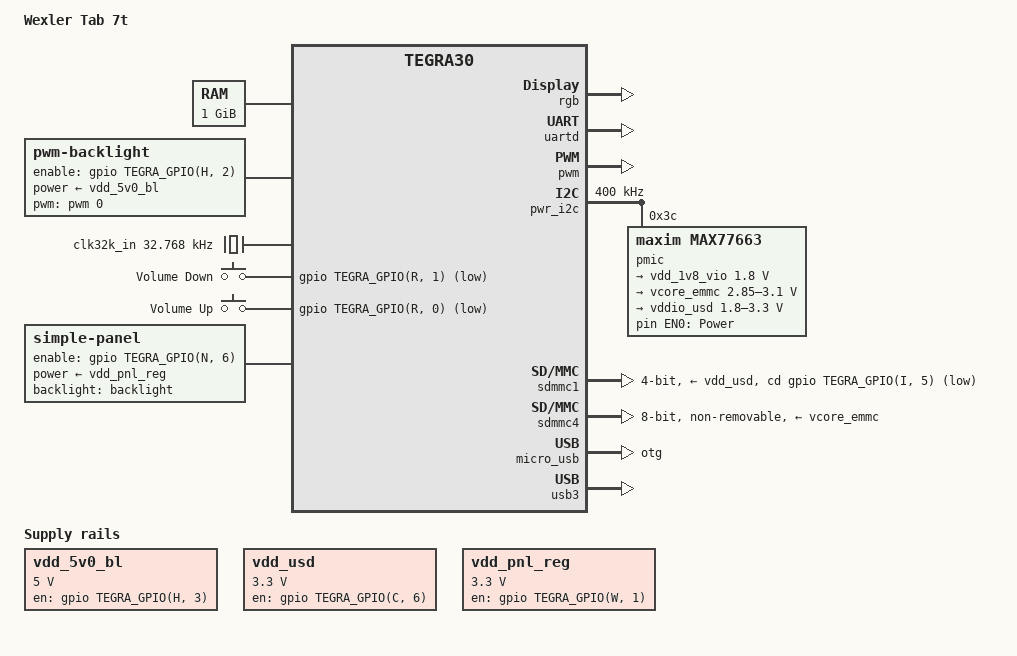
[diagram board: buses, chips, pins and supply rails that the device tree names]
// SPDX-License-Identifier: GPL-2.0
/dts-v1/;

/* CPU Speedo ID 7, Soc Speedo ID 1, CPU Process: 4, Core Process: 0 */

#include <dt-bindings/input/input.h>
#include <dt-bindings/pmic/max77663.h>

#include "tegra30.dtsi"

/ {
	model = "Wexler Tab 7t";
	compatible = "wexler,qc750", "nvidia,tegra30";

	chosen {
		stdout-path = &uartd;
	};

	aliases {
		i2c0 = &pwr_i2c;

		mmc0 = &sdmmc4;	/* eMMC */
		mmc1 = &sdmmc1; /* uSD slot */

		rtc0 = &pmic;
		rtc1 = "/rtc@7000e000";

		usb0 = &micro_usb;
		usb1 = &usb3; /* Full size USB */
	};

	memory {
		device_type = "memory";
		reg = <0x80000000 0x40000000>;
	};

	host1x@50000000 {
		dc@54200000 {
			rgb {
				status = "okay";

				nvidia,panel = <&panel>;
			};
		};
	};

	pinmux@70000868 {
		pinctrl-names = "default";
		pinctrl-0 = <&state_default>;

		state_default: pinmux {
			/* SDMMC1 pinmux */
			sdmmc1-clk {
				nvidia,pins = "sdmmc1_clk_pz0";
				nvidia,function = "sdmmc1";
				nvidia,pull = <TEGRA_PIN_PULL_NONE>;
				nvidia,tristate = <TEGRA_PIN_DISABLE>;
				nvidia,enable-input = <TEGRA_PIN_ENABLE>;
			};
			sdmmc1-cmd {
				nvidia,pins = "sdmmc1_dat3_py4",
						"sdmmc1_dat2_py5",
						"sdmmc1_dat1_py6",
						"sdmmc1_dat0_py7",
						"sdmmc1_cmd_pz1";
				nvidia,function = "sdmmc1";
				nvidia,pull = <TEGRA_PIN_PULL_UP>;
				nvidia,tristate = <TEGRA_PIN_DISABLE>;
				nvidia,enable-input = <TEGRA_PIN_ENABLE>;
			};
			sdmmc1-cd {
				nvidia,pins = "gmi_iordy_pi5";
				nvidia,function = "rsvd1";
				nvidia,pull = <TEGRA_PIN_PULL_UP>;
				nvidia,tristate = <TEGRA_PIN_DISABLE>;
				nvidia,enable-input = <TEGRA_PIN_ENABLE>;
			};

			/* SDMMC3 pinmux */
			sdmmc3-clk {
				nvidia,pins = "sdmmc3_clk_pa6";
				nvidia,function = "sdmmc3";
				nvidia,pull = <TEGRA_PIN_PULL_NONE>;
				nvidia,tristate = <TEGRA_PIN_DISABLE>;
				nvidia,enable-input = <TEGRA_PIN_ENABLE>;
			};
			sdmmc3-cmd {
				nvidia,pins = "sdmmc3_cmd_pa7",
						"sdmmc3_dat0_pb7",
						"sdmmc3_dat1_pb6",
						"sdmmc3_dat2_pb5",
						"sdmmc3_dat3_pb4",
						"sdmmc3_dat4_pd1",
						"sdmmc3_dat5_pd0",
						"sdmmc3_dat6_pd3",
						"sdmmc3_dat7_pd4";
				nvidia,function = "sdmmc3";
				nvidia,pull = <TEGRA_PIN_PULL_UP>;
				nvidia,tristate = <TEGRA_PIN_DISABLE>;
				nvidia,enable-input = <TEGRA_PIN_ENABLE>;
			};

			/* SDMMC4 pinmux */
			sdmmc4-clk {
				nvidia,pins = "sdmmc4_clk_pcc4";
				nvidia,function = "sdmmc4";
				nvidia,pull = <TEGRA_PIN_PULL_NONE>;
				nvidia,tristate = <TEGRA_PIN_DISABLE>;
				nvidia,enable-input = <TEGRA_PIN_ENABLE>;
			};
			sdmmc4-cmd {
				nvidia,pins = "sdmmc4_cmd_pt7",
						"sdmmc4_dat0_paa0",
						"sdmmc4_dat1_paa1",
						"sdmmc4_dat2_paa2",
						"sdmmc4_dat3_paa3",
						"sdmmc4_dat4_paa4",
						"sdmmc4_dat5_paa5",
						"sdmmc4_dat6_paa6",
						"sdmmc4_dat7_paa7";
				nvidia,function = "sdmmc4";
				nvidia,pull = <TEGRA_PIN_PULL_UP>;
				nvidia,tristate = <TEGRA_PIN_DISABLE>;
				nvidia,enable-input = <TEGRA_PIN_ENABLE>;
			};
			sdmmc4-rst-n {
				nvidia,pins = "sdmmc4_rst_n_pcc3";
				nvidia,function = "rsvd2";
				nvidia,pull = <TEGRA_PIN_PULL_DOWN>;
				nvidia,tristate = <TEGRA_PIN_DISABLE>;
				nvidia,enable-input = <TEGRA_PIN_ENABLE>;
			};
			cam-mclk {
				nvidia,pins = "cam_mclk_pcc0";
				nvidia,function = "vi_alt3";
				nvidia,pull = <TEGRA_PIN_PULL_UP>;
				nvidia,tristate = <TEGRA_PIN_DISABLE>;
				nvidia,enable-input = <TEGRA_PIN_ENABLE>;
			};
			drive-sdmmc4 {
				nvidia,pins = "drive_gma",
						"drive_gmb",
						"drive_gmc",
						"drive_gmd";
				nvidia,pull-down-strength = <9>;
				nvidia,pull-up-strength = <9>;
				nvidia,slew-rate-rising = <TEGRA_PIN_SLEW_RATE_SLOWEST>;
				nvidia,slew-rate-falling = <TEGRA_PIN_SLEW_RATE_SLOWEST>;
			};

			/* I2C pinmux */
			gen1-i2c {
				nvidia,pins = "gen1_i2c_scl_pc4",
						"gen1_i2c_sda_pc5";
				nvidia,function = "i2c1";
				nvidia,pull = <TEGRA_PIN_PULL_NONE>;
				nvidia,tristate = <TEGRA_PIN_DISABLE>;
				nvidia,enable-input = <TEGRA_PIN_ENABLE>;
				nvidia,open-drain = <TEGRA_PIN_ENABLE>;
				nvidia,lock = <0>;
			};
			gen2-i2c {
				nvidia,pins = "gen2_i2c_scl_pt5",
						"gen2_i2c_sda_pt6";
				nvidia,function = "i2c2";
				nvidia,pull = <TEGRA_PIN_PULL_NONE>;
				nvidia,tristate = <TEGRA_PIN_DISABLE>;
				nvidia,enable-input = <TEGRA_PIN_ENABLE>;
				nvidia,open-drain = <TEGRA_PIN_ENABLE>;
				nvidia,lock = <0>;
			};
			cam-i2c {
				nvidia,pins = "cam_i2c_scl_pbb1",
						"cam_i2c_sda_pbb2";
				nvidia,function = "i2c3";
				nvidia,pull = <TEGRA_PIN_PULL_NONE>;
				nvidia,tristate = <TEGRA_PIN_DISABLE>;
				nvidia,enable-input = <TEGRA_PIN_ENABLE>;
				nvidia,open-drain = <TEGRA_PIN_ENABLE>;
				nvidia,lock = <0>;
			};
			ddc-i2c {
				nvidia,pins = "ddc_scl_pv4",
						"ddc_sda_pv5";
				nvidia,function = "i2c4";
				nvidia,pull = <TEGRA_PIN_PULL_NONE>;
				nvidia,tristate = <TEGRA_PIN_DISABLE>;
				nvidia,enable-input = <TEGRA_PIN_ENABLE>;
				nvidia,lock = <0>;
			};
			pwr-i2c {
				nvidia,pins = "pwr_i2c_scl_pz6",
						"pwr_i2c_sda_pz7";
				nvidia,function = "i2cpwr";
				nvidia,pull = <TEGRA_PIN_PULL_NONE>;
				nvidia,tristate = <TEGRA_PIN_DISABLE>;
				nvidia,enable-input = <TEGRA_PIN_ENABLE>;
				nvidia,open-drain = <TEGRA_PIN_ENABLE>;
				nvidia,lock = <0>;
			};

			/* HDMI pinmux */
			hdmi-cec {
				nvidia,pins = "hdmi_cec_pee3";
				nvidia,function = "cec";
				nvidia,pull = <TEGRA_PIN_PULL_NONE>;
				nvidia,tristate = <TEGRA_PIN_DISABLE>;
				nvidia,enable-input = <TEGRA_PIN_ENABLE>;
				nvidia,open-drain = <TEGRA_PIN_DISABLE>;
			};
			hdmi-int {
				nvidia,pins = "hdmi_int_pn7";
				nvidia,function = "rsvd1";
				nvidia,pull = <TEGRA_PIN_PULL_NONE>;
				nvidia,tristate = <TEGRA_PIN_ENABLE>;
				nvidia,enable-input = <TEGRA_PIN_ENABLE>;
			};

			/* UART-B */
			uartb-txd-rts {
				nvidia,pins = "uart2_txd_pc2",
						"uart2_rts_n_pj6";
				nvidia,function = "uartb";
				nvidia,pull = <TEGRA_PIN_PULL_NONE>;
				nvidia,tristate = <TEGRA_PIN_DISABLE>;
				nvidia,enable-input = <TEGRA_PIN_DISABLE>;
			};
			uartb-rxd-cts {
				nvidia,pins = "uart2_rxd_pc3",
						"uart2_cts_n_pj5";
				nvidia,function = "uartb";
				nvidia,pull = <TEGRA_PIN_PULL_NONE>;
				nvidia,tristate = <TEGRA_PIN_DISABLE>;
				nvidia,enable-input = <TEGRA_PIN_ENABLE>;
			};

			/* UART-C */
			uartc-rxd-cts {
				nvidia,pins = "uart3_cts_n_pa1",
						"uart3_rxd_pw7";
				nvidia,function = "uartc";
				nvidia,pull = <TEGRA_PIN_PULL_NONE>;
				nvidia,tristate = <TEGRA_PIN_DISABLE>;
				nvidia,enable-input = <TEGRA_PIN_ENABLE>;
			};
			uartc-txd-rts {
				nvidia,pins = "uart3_rts_n_pc0",
						"uart3_txd_pw6";
				nvidia,function = "uartc";
				nvidia,pull = <TEGRA_PIN_PULL_NONE>;
				nvidia,tristate = <TEGRA_PIN_DISABLE>;
				nvidia,enable-input = <TEGRA_PIN_DISABLE>;
			};

			/* UART-D */
			uartd-rxd {
				nvidia,pins = "gmi_a17_pb0";
				nvidia,function = "uartd";
				nvidia,pull = <TEGRA_PIN_PULL_NONE>;
				nvidia,tristate = <TEGRA_PIN_DISABLE>;
				nvidia,enable-input = <TEGRA_PIN_ENABLE>;
			};
			uartd-txd {
				nvidia,pins = "gmi_a16_pj7";
				nvidia,function = "uartd";
				nvidia,pull = <TEGRA_PIN_PULL_NONE>;
				nvidia,tristate = <TEGRA_PIN_DISABLE>;
				nvidia,enable-input = <TEGRA_PIN_DISABLE>;
			};

			/* I2S pinmux */
			dap-i2s0 {
				nvidia,pins = "dap1_fs_pn0",
						"dap1_din_pn1",
						"dap1_dout_pn2",
						"dap1_sclk_pn3";
				nvidia,function = "i2s0";
				nvidia,pull = <TEGRA_PIN_PULL_NONE>;
				nvidia,tristate = <TEGRA_PIN_DISABLE>;
				nvidia,enable-input = <TEGRA_PIN_ENABLE>;
			};
			dap-i2s1 {
				nvidia,pins = "dap2_fs_pa2",
						"dap2_sclk_pa3",
						"dap2_din_pa4",
						"dap2_dout_pa5";
				nvidia,function = "i2s1";
				nvidia,pull = <TEGRA_PIN_PULL_NONE>;
				nvidia,tristate = <TEGRA_PIN_DISABLE>;
				nvidia,enable-input = <TEGRA_PIN_ENABLE>;
			};
			dap-i2s2 {
				nvidia,pins = "dap3_fs_pp0",
						"dap3_din_pp1",
						"dap3_dout_pp2";
				nvidia,function = "i2s2";
				nvidia,pull = <TEGRA_PIN_PULL_NONE>;
				nvidia,tristate = <TEGRA_PIN_DISABLE>;
				nvidia,enable-input = <TEGRA_PIN_DISABLE>;
			};
			dap3-sclk {
				nvidia,pins = "dap3_sclk_pp3";
				nvidia,function = "i2s2";
				nvidia,pull = <TEGRA_PIN_PULL_NONE>;
				nvidia,tristate = <TEGRA_PIN_ENABLE>;
				nvidia,enable-input = <TEGRA_PIN_DISABLE>;
			};
			dap-i2s3 {
				nvidia,pins = "dap4_fs_pp4",
						"dap4_din_pp5",
						"dap4_dout_pp6",
						"dap4_sclk_pp7";
				nvidia,function = "i2s3";
				nvidia,pull = <TEGRA_PIN_PULL_NONE>;
				nvidia,tristate = <TEGRA_PIN_DISABLE>;
				nvidia,enable-input = <TEGRA_PIN_ENABLE>;
			};

			/* PCI-e pinmux */
			pex-l2-rst-n {
				nvidia,pins = "pex_l2_rst_n_pcc6",
						"pex_l2_clkreq_n_pcc7";
				nvidia,function = "pcie";
				nvidia,pull = <TEGRA_PIN_PULL_NONE>;
				nvidia,tristate = <TEGRA_PIN_DISABLE>;
				nvidia,enable-input = <TEGRA_PIN_DISABLE>;
			};
			pex-l0-prsnt-n {
				nvidia,pins = "pex_l0_prsnt_n_pdd0",
						"pex_l0_rst_n_pdd1",
						"pex_l0_clkreq_n_pdd2",
						"pex_l1_prsnt_n_pdd4",
						"pex_l1_rst_n_pdd5",
						"pex_l1_clkreq_n_pdd6";
				nvidia,function = "pcie";
				nvidia,pull = <TEGRA_PIN_PULL_NONE>;
				nvidia,tristate = <TEGRA_PIN_ENABLE>;
				nvidia,enable-input = <TEGRA_PIN_DISABLE>;
			};
			pex-wake-n {
				nvidia,pins = "pex_wake_n_pdd3",
						"pex_l2_prsnt_n_pdd7";
				nvidia,function = "pcie";
				nvidia,pull = <TEGRA_PIN_PULL_NONE>;
				nvidia,tristate = <TEGRA_PIN_DISABLE>;
				nvidia,enable-input = <TEGRA_PIN_ENABLE>;
			};

			/* SPI pinmux */
			spi1-mosi {
				nvidia,pins = "spi1_mosi_px4",
						"spi1_sck_px5",
						"spi1_cs0_n_px6",
						"spi1_miso_px7";
				nvidia,function = "spi1";
				nvidia,pull = <TEGRA_PIN_PULL_NONE>;
				nvidia,tristate = <TEGRA_PIN_DISABLE>;
				nvidia,enable-input = <TEGRA_PIN_ENABLE>;
			};
			spi2-mosi {
				nvidia,pins = "spi2_mosi_px0",
						"spi2_miso_px1",
						"spi2_cs1_n_pw2",
						"spi2_cs2_n_pw3",
						"ulpi_data7_po0",
						"ulpi_data4_po5",
						"ulpi_data5_po6",
						"ulpi_data6_po7";
				nvidia,function = "spi2";
				nvidia,pull = <TEGRA_PIN_PULL_NONE>;
				nvidia,tristate = <TEGRA_PIN_DISABLE>;
				nvidia,enable-input = <TEGRA_PIN_ENABLE>;
			};
			spi2-sck {
				nvidia,pins = "spi2_sck_px2";
				nvidia,function = "spi2";
				nvidia,pull = <TEGRA_PIN_PULL_NONE>;
				nvidia,tristate = <TEGRA_PIN_DISABLE>;
				nvidia,enable-input = <TEGRA_PIN_DISABLE>;
			};

			/* Display A pinmux */
			lcd-pwr0 {
				nvidia,pins = "lcd_pwr0_pb2",
						"lcd_pwr1_pc1",
						"lcd_pwr2_pc6",
						"lcd_m1_pw1",
						"lcd_dc0_pn6";
				nvidia,function = "displaya";
				nvidia,pull = <TEGRA_PIN_PULL_NONE>;
				nvidia,tristate = <TEGRA_PIN_DISABLE>;
				nvidia,enable-input = <TEGRA_PIN_DISABLE>;
			};
			lcd-pclk {
				nvidia,pins = "lcd_pclk_pb3",
						"lcd_dc1_pd2",
						"lcd_d0_pe0",
						"lcd_d1_pe1",
						"lcd_d2_pe2",
						"lcd_d3_pe3",
						"lcd_d4_pe4",
						"lcd_d5_pe5",
						"lcd_d6_pe6",
						"lcd_d7_pe7",
						"lcd_d8_pf0",
						"lcd_d9_pf1",
						"lcd_d10_pf2",
						"lcd_d11_pf3",
						"lcd_d12_pf4",
						"lcd_d13_pf5",
						"lcd_d14_pf6",
						"lcd_d15_pf7",
						"lcd_de_pj1",
						"lcd_hsync_pj3",
						"lcd_vsync_pj4",
						"lcd_d16_pm0",
						"lcd_d17_pm1",
						"lcd_d18_pm2",
						"lcd_d19_pm3",
						"lcd_d20_pm4",
						"lcd_d21_pm5",
						"lcd_d22_pm6",
						"lcd_d23_pm7",
						"lcd_cs0_n_pn4",
						"lcd_sdout_pn5",
						"lcd_cs1_n_pw0",
						"lcd_sdin_pz2",
						"lcd_sck_pz4";
				nvidia,function = "displaya";
				nvidia,pull = <TEGRA_PIN_PULL_NONE>;
				nvidia,tristate = <TEGRA_PIN_DISABLE>;
				nvidia,enable-input = <TEGRA_PIN_ENABLE>;
			};
			lcd-wr-n {
				nvidia,pins = "lcd_wr_n_pz3";
				nvidia,function = "displaya";
				nvidia,pull = <TEGRA_PIN_PULL_UP>;
				nvidia,tristate = <TEGRA_PIN_DISABLE>;
				nvidia,enable-input = <TEGRA_PIN_ENABLE>;
			};

			clk-32k-out {
				nvidia,pins = "clk_32k_out_pa0";
				nvidia,function = "blink";
				nvidia,pull = <TEGRA_PIN_PULL_NONE>;
				nvidia,tristate = <TEGRA_PIN_DISABLE>;
				nvidia,enable-input = <TEGRA_PIN_DISABLE>;
			};
			sys-clk-req {
				nvidia,pins = "sys_clk_req_pz5";
				nvidia,function = "sysclk";
				nvidia,pull = <TEGRA_PIN_PULL_NONE>;
				nvidia,tristate = <TEGRA_PIN_DISABLE>;
				nvidia,enable-input = <TEGRA_PIN_DISABLE>;
			};
			owr {
				nvidia,pins = "owr";
				nvidia,function = "owr";
				nvidia,pull = <TEGRA_PIN_PULL_NONE>;
				nvidia,tristate = <TEGRA_PIN_DISABLE>;
				nvidia,enable-input = <TEGRA_PIN_ENABLE>;
			};

			/* KBC pinmux */
			kb-col0 {
				nvidia,pins = "kb_col0_pq0",
						"kb_col1_pq1",
						"kb_col2_pq2",
						"kb_col3_pq3",
						"kb_row0_pr0",
						"kb_row1_pr1",
						"kb_row2_pr2";
				nvidia,function = "kbc";
				nvidia,pull = <TEGRA_PIN_PULL_UP>;
				nvidia,tristate = <TEGRA_PIN_DISABLE>;
				nvidia,enable-input = <TEGRA_PIN_ENABLE>;
			};
			kb-col4 {
				nvidia,pins = "kb_col4_pq4",
						"kb_col5_pq5",
						"kb_col6_pq6",
						"kb_col7_pq7",
						"kb_row12_ps4",
						"kb_row13_ps5",
						"kb_row14_ps6";
				nvidia,function = "kbc";
				nvidia,pull = <TEGRA_PIN_PULL_NONE>;
				nvidia,tristate = <TEGRA_PIN_ENABLE>;
				nvidia,enable-input = <TEGRA_PIN_DISABLE>;
			};
			kb-row3 {
				nvidia,pins = "kb_row3_pr3",
						"kb_row4_pr4",
						"kb_row5_pr5",
						"kb_row6_pr6",
						"kb_row7_pr7",
						"kb_row8_ps0",
						"kb_row9_ps1",
						"kb_row10_ps2",
						"kb_row15_ps7";
				nvidia,function = "kbc";
				nvidia,pull = <TEGRA_PIN_PULL_NONE>;
				nvidia,tristate = <TEGRA_PIN_DISABLE>;
				nvidia,enable-input = <TEGRA_PIN_DISABLE>;
			};
			kb-row11 {
				nvidia,pins = "kb_row11_ps3";
				nvidia,function = "kbc";
				nvidia,pull = <TEGRA_PIN_PULL_UP>;
				nvidia,tristate = <TEGRA_PIN_ENABLE>;
				nvidia,enable-input = <TEGRA_PIN_ENABLE>;
			};

			/* VI pinmux */
			vi-d0 {
				nvidia,pins = "vi_d0_pt4",
						"vi_d1_pd5",
						"vi_d10_pt2",
						"vi_d11_pt3";
				nvidia,function = "vi";
				nvidia,pull = <TEGRA_PIN_PULL_NONE>;
				nvidia,tristate = <TEGRA_PIN_ENABLE>;
				nvidia,enable-input = <TEGRA_PIN_DISABLE>;
			};
			vi-d2 {
				nvidia,pins = "vi_d2_pl0",
						"vi_d3_pl1",
						"vi_d4_pl2",
						"vi_d5_pl3",
						"vi_d6_pl4",
						"vi_d7_pl5",
						"vi_d8_pl6",
						"vi_d9_pl7",
						"vi_vsync_pd6",
						"vi_hsync_pd7",
						"vi_pclk_pt0",
						"vi_mclk_pt1";
				nvidia,function = "vi";
				nvidia,pull = <TEGRA_PIN_PULL_NONE>;
				nvidia,tristate = <TEGRA_PIN_DISABLE>;
				nvidia,enable-input = <TEGRA_PIN_ENABLE>;
			};

			spdif-out {
				nvidia,pins = "spdif_out_pk5";
				nvidia,function = "spdif";
				nvidia,pull = <TEGRA_PIN_PULL_NONE>;
				nvidia,tristate = <TEGRA_PIN_DISABLE>;
				nvidia,enable-input = <TEGRA_PIN_DISABLE>;
			};
			spdif-in {
				nvidia,pins = "spdif_in_pk6";
				nvidia,function = "spdif";
				nvidia,pull = <TEGRA_PIN_PULL_NONE>;
				nvidia,tristate = <TEGRA_PIN_DISABLE>;
				nvidia,enable-input = <TEGRA_PIN_ENABLE>;
			};

			/* ULPI pinmux */
			ulpi-clk {
				nvidia,pins = "ulpi_clk_py0",
						"ulpi_data0_po1",
						"ulpi_data1_po2",
						"ulpi_data2_po3",
						"ulpi_data3_po4";
				nvidia,function = "ulpi";
				nvidia,pull = <TEGRA_PIN_PULL_NONE>;
				nvidia,tristate = <TEGRA_PIN_ENABLE>;
				nvidia,enable-input = <TEGRA_PIN_DISABLE>;
			};
			ulpi-dir {
				nvidia,pins = "ulpi_dir_py1",
						"ulpi_nxt_py2",
						"ulpi_stp_py3";
				nvidia,function = "ulpi";
				nvidia,pull = <TEGRA_PIN_PULL_NONE>;
				nvidia,tristate = <TEGRA_PIN_DISABLE>;
				nvidia,enable-input = <TEGRA_PIN_DISABLE>;
			};

			/* PORT U */
			pu0 {
				nvidia,pins = "pu0";
				nvidia,function = "rsvd4";
				nvidia,pull = <TEGRA_PIN_PULL_NONE>;
				nvidia,tristate = <TEGRA_PIN_DISABLE>;
				nvidia,enable-input = <TEGRA_PIN_DISABLE>;
			};
			pu1 {
				nvidia,pins = "pu1";
				nvidia,function = "rsvd1";
				nvidia,pull = <TEGRA_PIN_PULL_NONE>;
				nvidia,tristate = <TEGRA_PIN_DISABLE>;
				nvidia,enable-input = <TEGRA_PIN_DISABLE>;
			};
			pu2 {
				nvidia,pins = "pu2";
				nvidia,function = "rsvd1";
				nvidia,pull = <TEGRA_PIN_PULL_NONE>;
				nvidia,tristate = <TEGRA_PIN_DISABLE>;
				nvidia,enable-input = <TEGRA_PIN_ENABLE>;
			};
			pu3 {
				nvidia,pins = "pu3";
				nvidia,function = "rsvd4";
				nvidia,pull = <TEGRA_PIN_PULL_NONE>;
				nvidia,tristate = <TEGRA_PIN_DISABLE>;
				nvidia,enable-input = <TEGRA_PIN_ENABLE>;
			};
			pu4 {
				nvidia,pins = "pu4";
				nvidia,function = "pwm1";
				nvidia,pull = <TEGRA_PIN_PULL_NONE>;
				nvidia,tristate = <TEGRA_PIN_DISABLE>;
				nvidia,enable-input = <TEGRA_PIN_DISABLE>;
			};
			pu5 {
				nvidia,pins = "pu5";
				nvidia,function = "pwm2";
				nvidia,pull = <TEGRA_PIN_PULL_DOWN>;
				nvidia,tristate = <TEGRA_PIN_DISABLE>;
				nvidia,enable-input = <TEGRA_PIN_ENABLE>;
			};
			pu6 {
				nvidia,pins = "pu6";
				nvidia,function = "rsvd4";
				nvidia,pull = <TEGRA_PIN_PULL_NONE>;
				nvidia,tristate = <TEGRA_PIN_DISABLE>;
				nvidia,enable-input = <TEGRA_PIN_ENABLE>;
			};

			jtag-rtck-pu7 {
				nvidia,pins = "jtag_rtck_pu7";
				nvidia,function = "rtck";
				nvidia,pull = <TEGRA_PIN_PULL_UP>;
				nvidia,tristate = <TEGRA_PIN_DISABLE>;
				nvidia,enable-input = <TEGRA_PIN_ENABLE>;
			};

			/* PORT V */
			pv0 {
				nvidia,pins = "pv0";
				nvidia,function = "rsvd1";
				nvidia,pull = <TEGRA_PIN_PULL_NONE>;
				nvidia,tristate = <TEGRA_PIN_DISABLE>;
				nvidia,enable-input = <TEGRA_PIN_ENABLE>;
			};
			pv1 {
				nvidia,pins = "pv1";
				nvidia,function = "rsvd1";
				nvidia,pull = <TEGRA_PIN_PULL_NONE>;
				nvidia,tristate = <TEGRA_PIN_DISABLE>;
				nvidia,enable-input = <TEGRA_PIN_ENABLE>;
			};
			pv2 {
				nvidia,pins = "pv2";
				nvidia,function = "owr";
				nvidia,pull = <TEGRA_PIN_PULL_NONE>;
				nvidia,tristate = <TEGRA_PIN_ENABLE>;
				nvidia,enable-input = <TEGRA_PIN_DISABLE>;
			};
			pv3 {
				nvidia,pins = "pv3";
				nvidia,function = "rsvd2";
				nvidia,pull = <TEGRA_PIN_PULL_NONE>;
				nvidia,tristate = <TEGRA_PIN_ENABLE>;
				nvidia,enable-input = <TEGRA_PIN_DISABLE>;
			};

			/* PORT BB */
			pbb0 {
				nvidia,pins = "pbb0";
				nvidia,function = "rsvd2";
				nvidia,pull = <TEGRA_PIN_PULL_NONE>;
				nvidia,tristate = <TEGRA_PIN_DISABLE>;
				nvidia,enable-input = <TEGRA_PIN_ENABLE>;
			};
			pbb3 {
				nvidia,pins = "pbb3";
				nvidia,function = "vgp3";
				nvidia,pull = <TEGRA_PIN_PULL_NONE>;
				nvidia,tristate = <TEGRA_PIN_DISABLE>;
				nvidia,enable-input = <TEGRA_PIN_ENABLE>;
			};
			pbb4 {
				nvidia,pins = "pbb4";
				nvidia,function = "vgp4";
				nvidia,pull = <TEGRA_PIN_PULL_NONE>;
				nvidia,tristate = <TEGRA_PIN_DISABLE>;
				nvidia,enable-input = <TEGRA_PIN_ENABLE>;
			};
			pbb5 {
				nvidia,pins = "pbb5";
				nvidia,function = "vgp5";
				nvidia,pull = <TEGRA_PIN_PULL_UP>;
				nvidia,tristate = <TEGRA_PIN_DISABLE>;
				nvidia,enable-input = <TEGRA_PIN_ENABLE>;
			};
			pbb6 {
				nvidia,pins = "pbb6";
				nvidia,function = "vgp6";
				nvidia,pull = <TEGRA_PIN_PULL_NONE>;
				nvidia,tristate = <TEGRA_PIN_DISABLE>;
				nvidia,enable-input = <TEGRA_PIN_ENABLE>;
			};
			pbb7 {
				nvidia,pins = "pbb7";
				nvidia,function = "i2s4";
				nvidia,pull = <TEGRA_PIN_PULL_NONE>;
				nvidia,tristate = <TEGRA_PIN_DISABLE>;
				nvidia,enable-input = <TEGRA_PIN_ENABLE>;
			};

			/* PORT CC */
			pcc1 {
				nvidia,pins = "pcc1";
				nvidia,function = "rsvd2";
				nvidia,pull = <TEGRA_PIN_PULL_NONE>;
				nvidia,tristate = <TEGRA_PIN_DISABLE>;
				nvidia,enable-input = <TEGRA_PIN_ENABLE>;
			};
			pcc2 {
				nvidia,pins = "pcc2";
				nvidia,function = "i2s4";
				nvidia,pull = <TEGRA_PIN_PULL_NONE>;
				nvidia,tristate = <TEGRA_PIN_DISABLE>;
				nvidia,enable-input = <TEGRA_PIN_ENABLE>;
			};

			crt-hsync-vsync {
				nvidia,pins = "crt_hsync_pv6",
						"crt_vsync_pv7";
				nvidia,function = "crt";
				nvidia,pull = <TEGRA_PIN_PULL_NONE>;
				nvidia,tristate = <TEGRA_PIN_DISABLE>;
				nvidia,enable-input = <TEGRA_PIN_DISABLE>;
			};

			clk1-out {
				nvidia,pins = "clk1_out_pw4";
				nvidia,function = "extperiph1";
				nvidia,pull = <TEGRA_PIN_PULL_NONE>;
				nvidia,tristate = <TEGRA_PIN_DISABLE>;
				nvidia,enable-input = <TEGRA_PIN_ENABLE>;
			};
			clk1-req {
				nvidia,pins = "clk1_req_pee2";
				nvidia,function = "dap";
				nvidia,pull = <TEGRA_PIN_PULL_NONE>;
				nvidia,tristate = <TEGRA_PIN_ENABLE>;
				nvidia,enable-input = <TEGRA_PIN_DISABLE>;
			};
			clk2-out {
				nvidia,pins = "clk2_out_pw5";
				nvidia,function = "extperiph2";
				nvidia,pull = <TEGRA_PIN_PULL_NONE>;
				nvidia,tristate = <TEGRA_PIN_DISABLE>;
				nvidia,enable-input = <TEGRA_PIN_ENABLE>;
			};
			clk2-req {
				nvidia,pins = "clk2_req_pcc5";
				nvidia,function = "dap";
				nvidia,pull = <TEGRA_PIN_PULL_NONE>;
				nvidia,tristate = <TEGRA_PIN_DISABLE>;
				nvidia,enable-input = <TEGRA_PIN_ENABLE>;
			};
			clk3-out {
				nvidia,pins = "clk3_out_pee0";
				nvidia,function = "extperiph3";
				nvidia,pull = <TEGRA_PIN_PULL_NONE>;
				nvidia,tristate = <TEGRA_PIN_DISABLE>;
				nvidia,enable-input = <TEGRA_PIN_DISABLE>;
			};
			clk3-req {
				nvidia,pins = "clk3_req_pee1";
				nvidia,function = "dev3";
				nvidia,pull = <TEGRA_PIN_PULL_NONE>;
				nvidia,tristate = <TEGRA_PIN_ENABLE>;
				nvidia,enable-input = <TEGRA_PIN_DISABLE>;
			};

			/* GMI pinmux */
			gmi-a18 {
				nvidia,pins = "gmi_a18_pb1";
				nvidia,function = "spi4";
				nvidia,pull = <TEGRA_PIN_PULL_NONE>;
				nvidia,tristate = <TEGRA_PIN_DISABLE>;
				nvidia,enable-input = <TEGRA_PIN_DISABLE>;
			};
			gmi-wp-n {
				nvidia,pins = "gmi_wp_n_pc7",
						"gmi_wait_pi7";
				nvidia,function = "rsvd1";
				nvidia,pull = <TEGRA_PIN_PULL_UP>;
				nvidia,tristate = <TEGRA_PIN_DISABLE>;
				nvidia,enable-input = <TEGRA_PIN_ENABLE>;
			};
			gmi-ad0 {
				nvidia,pins = "gmi_ad0_pg0",
						"gmi_ad1_pg1",
						"gmi_cs3_n_pk4";
				nvidia,function = "rsvd1";
				nvidia,pull = <TEGRA_PIN_PULL_NONE>;
				nvidia,tristate = <TEGRA_PIN_DISABLE>;
				nvidia,enable-input = <TEGRA_PIN_DISABLE>;
			};
			gmi-ad2 {
				nvidia,pins = "gmi_ad2_pg2",
						"gmi_ad3_pg3",
						"gmi_ad6_pg6",
						"gmi_ad7_pg7";
				nvidia,function = "rsvd1";
				nvidia,pull = <TEGRA_PIN_PULL_DOWN>;
				nvidia,tristate = <TEGRA_PIN_DISABLE>;
				nvidia,enable-input = <TEGRA_PIN_DISABLE>;
			};
			gmi-ad4 {
				nvidia,pins = "gmi_ad4_pg4",
						"gmi_ad5_pg5",
						"gmi_ad12_ph4",
						"gmi_ad13_ph5",
						"gmi_ad14_ph6",
						"gmi_ad15_ph7",
						"gmi_dqs_pi2",
						"gmi_cs0_n_pj0",
						"gmi_cs4_n_pk2";
				nvidia,function = "rsvd1";
				nvidia,pull = <TEGRA_PIN_PULL_NONE>;
				nvidia,tristate = <TEGRA_PIN_DISABLE>;
				nvidia,enable-input = <TEGRA_PIN_ENABLE>;
			};
			gmi-ad8 {
				nvidia,pins = "gmi_ad8_ph0";
				nvidia,function = "pwm0";
				nvidia,pull = <TEGRA_PIN_PULL_NONE>;
				nvidia,tristate = <TEGRA_PIN_DISABLE>;
				nvidia,enable-input = <TEGRA_PIN_DISABLE>;
			};
			gmi-ad9 {
				nvidia,pins = "gmi_ad9_ph1";
				nvidia,function = "rsvd4";
				nvidia,pull = <TEGRA_PIN_PULL_DOWN>;
				nvidia,tristate = <TEGRA_PIN_DISABLE>;
				nvidia,enable-input = <TEGRA_PIN_DISABLE>;
			};
			gmi-ad10 {
				nvidia,pins = "gmi_ad10_ph2";
				nvidia,function = "pwm2";
				nvidia,pull = <TEGRA_PIN_PULL_NONE>;
				nvidia,tristate = <TEGRA_PIN_DISABLE>;
				nvidia,enable-input = <TEGRA_PIN_DISABLE>;
			};
			gmi-ad11 {
				nvidia,pins = "gmi_ad11_ph3";
				nvidia,function = "pwm3";
				nvidia,pull = <TEGRA_PIN_PULL_NONE>;
				nvidia,tristate = <TEGRA_PIN_DISABLE>;
				nvidia,enable-input = <TEGRA_PIN_DISABLE>;
			};
			gmi-wr-n {
				nvidia,pins = "gmi_wr_n_pi0",
						"gmi_oe_n_pi1",
						"gmi_cs1_n_pj2",
						"gmi_adv_n_pk0";
				nvidia,function = "rsvd1";
				nvidia,pull = <TEGRA_PIN_PULL_NONE>;
				nvidia,tristate = <TEGRA_PIN_ENABLE>;
				nvidia,enable-input = <TEGRA_PIN_DISABLE>;
			};
			gmi-cs6-n {
				nvidia,pins = "gmi_cs6_n_pi3",
						"gmi_cs7_n_pi6",
						"gmi_clk_pk1";
				nvidia,function = "nand";
				nvidia,pull = <TEGRA_PIN_PULL_NONE>;
				nvidia,tristate = <TEGRA_PIN_ENABLE>;
				nvidia,enable-input = <TEGRA_PIN_DISABLE>;
			};
			gmi-rst-n {
				nvidia,pins = "gmi_rst_n_pi4";
				nvidia,function = "nand";
				nvidia,pull = <TEGRA_PIN_PULL_UP>;
				nvidia,tristate = <TEGRA_PIN_DISABLE>;
				nvidia,enable-input = <TEGRA_PIN_DISABLE>;
			};
			gmi-cs2-n {
				nvidia,pins = "gmi_cs2_n_pk3";
				nvidia,function = "rsvd1";
				nvidia,pull = <TEGRA_PIN_PULL_UP>;
				nvidia,tristate = <TEGRA_PIN_DISABLE>;
				nvidia,enable-input = <TEGRA_PIN_DISABLE>;
			};
			gmi-a19 {
				nvidia,pins = "gmi_a19_pk7";
				nvidia,function = "gmi";
				nvidia,pull = <TEGRA_PIN_PULL_NONE>;
				nvidia,tristate = <TEGRA_PIN_DISABLE>;
				nvidia,enable-input = <TEGRA_PIN_DISABLE>;
			};

			/* GPIO power/drive control */
			drive-dap2 {
				nvidia,pins = "drive_dap2",
						"drive_dbg",
						"drive_at5",
						"drive_gme",
						"drive_ddc",
						"drive_ao1",
						"drive_uart3";
				nvidia,high-speed-mode = <TEGRA_PIN_DISABLE>;
				nvidia,schmitt = <TEGRA_PIN_ENABLE>;
				nvidia,low-power-mode = <TEGRA_PIN_LP_DRIVE_DIV_1>;
				nvidia,pull-down-strength = <31>;
				nvidia,pull-up-strength = <31>;
				nvidia,slew-rate-rising = <TEGRA_PIN_SLEW_RATE_FASTEST>;
				nvidia,slew-rate-falling = <TEGRA_PIN_SLEW_RATE_FASTEST>;
			};

			drive-sdio1 {
				nvidia,pins = "drive_sdio1",
						"drive_sdio3";
				nvidia,high-speed-mode = <TEGRA_PIN_DISABLE>;
				nvidia,schmitt = <TEGRA_PIN_DISABLE>;
				nvidia,pull-down-strength = <46>;
				nvidia,pull-up-strength = <42>;
				nvidia,slew-rate-rising = <TEGRA_PIN_SLEW_RATE_FAST>;
				nvidia,slew-rate-falling = <TEGRA_PIN_SLEW_RATE_FAST>;
			};
		};
	};

	uartd: serial@70006300 {
		status = "okay";
	};

	pwm: pwm@7000a000 {
		status = "okay";
	};

	pwr_i2c: i2c@7000d000 {
		status = "okay";
		clock-frequency = <400000>;

		pmic: max77663@3c {
			compatible = "maxim,max77663";
			reg = <0x3c>;

			interrupts = <GIC_SPI 86 IRQ_TYPE_LEVEL_HIGH>;
			#interrupt-cells = <2>;
			interrupt-controller;

			#gpio-cells = <2>;
			gpio-controller;

			system-power-controller;

			regulators {
				vdd_1v8_vio: sd2 {
					regulator-name = "vdd_1v8_gen";
					regulator-min-microvolt = <1800000>;
					regulator-max-microvolt = <1800000>;
					regulator-always-on;
					regulator-boot-on;
				};

				vcore_emmc: ldo3 {
					regulator-name = "vcore_emmc";
					regulator-min-microvolt = <2850000>;
					regulator-max-microvolt = <3100000>;
					regulator-boot-on;
				};

				vddio_usd: ldo6 {
					regulator-name = "vddio_usd";
					regulator-min-microvolt = <1800000>;
					regulator-max-microvolt = <3300000>;
					regulator-always-on;
					regulator-boot-on;
				};
			};
		};
	};

	sdmmc1: sdhci@78000000 {
		status = "okay";
		bus-width = <4>;

		cd-gpios = <&gpio TEGRA_GPIO(I, 5) GPIO_ACTIVE_LOW>;
		power-gpios = <&gpio TEGRA_GPIO(D, 7) GPIO_ACTIVE_HIGH>;

		vmmc-supply = <&vdd_usd>;
		vqmmc-supply = <&vddio_usd>;
	};

	sdmmc4: sdhci@78000600 {
		status = "okay";
		bus-width = <8>;
		non-removable;

		vmmc-supply = <&vcore_emmc>;
		vqmmc-supply = <&vdd_1v8_vio>;
	};

	micro_usb: usb@7d000000 {
		status = "okay";
		dr_mode = "otg";
	};

	/* Full size USB */
	usb3: usb@7d008000 {
		status = "okay";
	};

	backlight: backlight {
		compatible = "pwm-backlight";

		enable-gpios = <&gpio TEGRA_GPIO(H, 2) GPIO_ACTIVE_HIGH>;
		power-supply = <&vdd_5v0_bl>;
		pwms = <&pwm 0 5000000>;

		brightness-levels = <1 35 70 105 140 175 210 255>;
		default-brightness-level = <5>;
	};

	clk32k_in: clock-32k {
		compatible = "fixed-clock";
		#clock-cells = <0>;
		clock-frequency = <32768>;
		clock-output-names = "ref-oscillator";
	};

	gpio-keys {
		compatible = "gpio-keys";

		key-power {
			label = "Power";
			gpios = <&pmic EN0 GPIO_ACTIVE_HIGH>;
			linux,code = <KEY_ENTER>;
		};

		key-volume-down {
			label = "Volume Down";
			gpios = <&gpio TEGRA_GPIO(R, 1) GPIO_ACTIVE_LOW>;
			linux,code = <KEY_DOWN>;
		};

		key-volume-up {
			label = "Volume Up";
			gpios = <&gpio TEGRA_GPIO(R, 0) GPIO_ACTIVE_LOW>;
			linux,code = <KEY_UP>;
		};
	};

	panel: panel {
		compatible = "simple-panel";

		power-supply = <&vdd_pnl_reg>;
		enable-gpios = <&gpio TEGRA_GPIO(N, 6) GPIO_ACTIVE_HIGH>;

		backlight = <&backlight>;

		display-timings {
			timing@0 {
				/* 1280x800@60Hz */
				clock-frequency = <81750000>;

				hactive = <800>;
				hfront-porch = <64>;
				hback-porch = <128>;
				hsync-len = <64>;

				vactive = <1280>;
				vfront-porch = <5>;
				vback-porch = <2>;
				vsync-len = <1>;
			};
		};
	};

	vdd_5v0_bl: regulator-bl {
		compatible = "regulator-fixed";
		regulator-name = "vdd_5v0_bl";
		regulator-min-microvolt = <5000000>;
		regulator-max-microvolt = <5000000>;
		gpio = <&gpio TEGRA_GPIO(H, 3) GPIO_ACTIVE_HIGH>;
		enable-active-high;
	};

	vdd_usd: regulator-emmc {
		compatible = "regulator-fixed";
		regulator-name = "vdd_3v3_sdmmc1";
		regulator-min-microvolt = <3300000>;
		regulator-max-microvolt = <3300000>;
		gpio = <&gpio TEGRA_GPIO(C, 6) GPIO_ACTIVE_HIGH>;
		enable-active-high;
	};

	vdd_pnl_reg: regulator-pnl {
		compatible = "regulator-fixed";
		regulator-name = "vdd_panel";
		regulator-min-microvolt = <3300000>;
		regulator-max-microvolt = <3300000>;
		gpio = <&gpio TEGRA_GPIO(W, 1) GPIO_ACTIVE_HIGH>;
		enable-active-high;
	};
};
